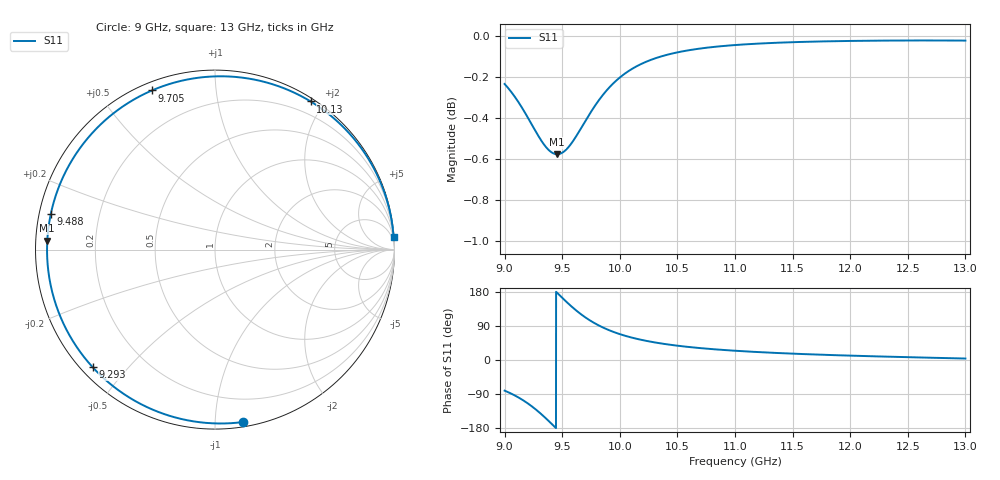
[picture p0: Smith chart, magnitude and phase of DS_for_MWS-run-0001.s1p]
! TOUCHSTONE file generated by CST DESIGN STUDIO
! Date and time: Tue Feb  4 13:08:05 2025
! Project name: C:\Work\MatlabApps\UnitCellOptimizationMatlab\CST\unitcell.cst
! Tree item: Tasks\Sweep1\SPara1\S-Parameters
! Header version: 2024
! Port assignment regex: !\s*Touchstone port\s*([0-9]+)\s*=\s*(CST MWS port|CST DES external port|CST DES block port)\s*(.+)\s* \(\"(.*)\"\)(\s*mode\s*([0-9]+))?.*
! Touchstone port assignment:
! Touchstone port 1 = CST DES external port 1 ("")
# GHz S MA R 50
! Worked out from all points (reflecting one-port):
!   4001 points, 9 GHz to 13 GHz, reference 50 ohm
!   lowest |S11| = -0.6 dB at 9.457 GHz (marker M1), VSWR 30.15, Z = 1.66 + j1.33 ohm
!   phase of S11 starts at -81 deg and turns -275 deg over the sweep
!   S11 on the Smith chart (normalised r, x): 9 GHz: 0.03, -1.17; 9.293 GHz: 0.03, -0.40; 9.488 GHz: 0.03, +0.11; 9.705 GHz: 0.03, +0.68; 10.13 GHz: 0.04, +1.84; 13 GHz: 1, +29
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9  0.9733 -80.8
9.091  0.9662 -94.0
9.164  0.9591 -106.9
9.23  0.9521 -120.8
9.293  0.9454 -136.1
9.335  0.9415 -147.4
9.381  0.9381 -160.4
9.42  0.9363 -172.0
9.457  0.9358 176.9
9.488  0.9362 167.7
9.5  0.9366 164.1
9.548  0.9391 150.3
9.604  0.9436 135.1
9.654  0.9485 122.8
9.705  0.9538 111.6
9.762  0.9594 100.5
9.827  0.9653 89.7
9.911  0.9716 78.1
10  0.9768 68.3
10.13  0.9825 57.1
10.297  0.9872 46.7
10.5  0.9907 37.8
10.723  0.993 30.7
11  0.9948 24.4
11.5  0.9964 16.8
12  0.997 11.5
12.5  0.9973 7.4
13  0.9972 3.9
